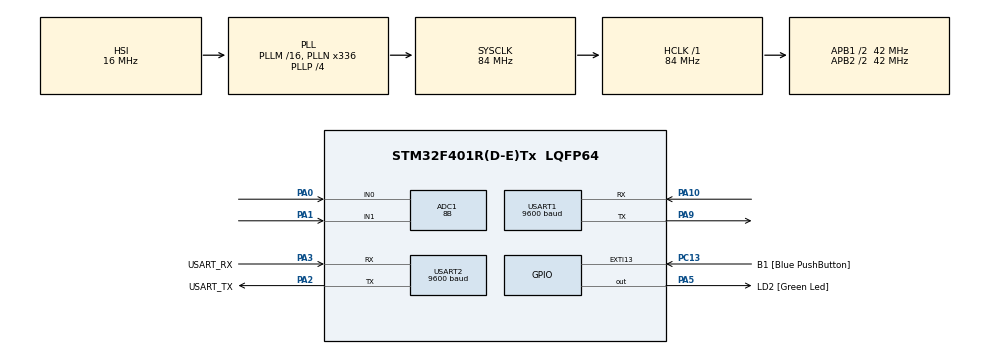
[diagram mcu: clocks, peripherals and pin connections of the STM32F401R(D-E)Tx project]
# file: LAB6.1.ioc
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ADC1.Channel-0\#ChannelRegularConversion=ADC_CHANNEL_0
ADC1.Channel-1\#ChannelRegularConversion=ADC_CHANNEL_1
ADC1.ContinuousConvMode=DISABLE
ADC1.NbrOfConversion=2
ADC1.NbrOfConversionFlag=1
ADC1.Rank-0\#ChannelRegularConversion=1
ADC1.Rank-1\#ChannelRegularConversion=2
ADC1.Resolution=ADC_RESOLUTION_8B
ADC1.SamplingTime-0\#ChannelRegularConversion=ADC_SAMPLETIME_84CYCLES
ADC1.SamplingTime-1\#ChannelRegularConversion=ADC_SAMPLETIME_84CYCLES
ADC1.ScanConvMode=ENABLE
ADC1.master=1
Mcu.Family=STM32F4
Mcu.Name=STM32F401R(D-E)Tx
Mcu.Package=LQFP64
NVIC.PriorityGroup=NVIC_PRIORITYGROUP_4
NVIC.USART1_IRQn=true\:0\:0\:false\:false\:true\:true\:true\:true
PA0-WKUP.Signal=ADCx_IN0
PA1.Signal=ADCx_IN1
PA10.Mode=Asynchronous
PA10.Signal=USART1_RX
PA13.GPIO_Label=TMS
PA13.Mode=Trace_Asynchronous_SW
PA13.Signal=SYS_JTMS-SWDIO
PA14.GPIO_Label=TCK
PA14.Mode=Trace_Asynchronous_SW
PA14.Signal=SYS_JTCK-SWCLK
PA2.GPIO_Label=USART_TX
PA2.GPIO_Mode=GPIO_MODE_AF_PP
PA2.GPIO_PuPd=GPIO_NOPULL
PA2.GPIO_Speed=GPIO_SPEED_FREQ_LOW
PA2.Mode=Asynchronous
PA2.Signal=USART2_TX
PA3.GPIO_Label=USART_RX
PA3.GPIO_Mode=GPIO_MODE_AF_PP
PA3.GPIO_PuPd=GPIO_NOPULL
PA3.GPIO_Speed=GPIO_SPEED_FREQ_LOW
PA3.Mode=Asynchronous
PA3.Signal=USART2_RX
PA5.GPIO_Label=LD2 [Green Led]
PA5.GPIO_Mode=GPIO_MODE_OUTPUT_PP
PA5.GPIO_PuPd=GPIO_NOPULL
PA5.GPIO_Speed=GPIO_SPEED_FREQ_LOW
PA5.Signal=GPIO_Output
PA9.Mode=Asynchronous
PA9.Signal=USART1_TX
PB3.GPIO_Label=SWO
PB3.Mode=Trace_Asynchronous_SW
PB3.Signal=SYS_JTDO-SWO
PC13-ANTI_TAMP.GPIO_Label=B1 [Blue PushButton]
PC13-ANTI_TAMP.GPIO_ModeDefaultEXTI=GPIO_MODE_IT_FALLING
PC13-ANTI_TAMP.GPIO_PuPd=GPIO_NOPULL
PC13-ANTI_TAMP.Signal=GPXTI13
PC14-OSC32_IN.Mode=LSE-External-Oscillator
PC14-OSC32_IN.Signal=RCC_OSC32_IN
PC15-OSC32_OUT.Mode=LSE-External-Oscillator
PC15-OSC32_OUT.Signal=RCC_OSC32_OUT
PH0\ -\ OSC_IN.Mode=HSE-External-Clock-Source
PH0\ -\ OSC_IN.Signal=RCC_OSC_IN
PH1\ -\ OSC_OUT.Mode=HSE-External-Clock-Source
PH1\ -\ OSC_OUT.Signal=RCC_OSC_OUT
ProjectManager.HeapSize=0x200
ProjectManager.StackSize=0x400
ProjectManager.TargetToolchain=STM32CubeIDE
RCC.48MHZClocksFreq_Value=48000000
RCC.AHBFreq_Value=84000000
RCC.APB1CLKDivider=RCC_HCLK_DIV2
RCC.APB1Freq_Value=42000000
RCC.APB1TimFreq_Value=84000000
RCC.APB2CLKDivider=RCC_HCLK_DIV2
RCC.APB2Freq_Value=42000000
RCC.APB2TimFreq_Value=84000000
RCC.CortexFreq_Value=84000000
RCC.HCLKFreq_Value=84000000
RCC.HSE_VALUE=8000000
RCC.HSI_VALUE=16000000
RCC.PLLN=336
RCC.PLLP=RCC_PLLP_DIV4
RCC.PLLQ=7
RCC.SYSCLKFreq_VALUE=84000000
RCC.SYSCLKSource=RCC_SYSCLKSOURCE_PLLCLK
RCC.VCOOutputFreq_Value=336000000
SH.ADCx_IN0.0=ADC1_IN0,IN0
SH.ADCx_IN1.0=ADC1_IN1,IN1
USART1.BaudRate=9600
USART1.VirtualMode=VM_ASYNC
USART2.BaudRate=9600
USART2.VirtualMode=VM_ASYNC
board=NUCLEO-F401RE

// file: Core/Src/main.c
/* USER CODE BEGIN Header */
/**
  ******************************************************************************
  * @file           : main.c
  * @brief          : Main program body
  ******************************************************************************
  * @attention
  *
  * Copyright (c) 2026 STMicroelectronics.
  * All rights reserved.
  *
  * This software is licensed under terms that can be found in the LICENSE file
  * in the root directory of this software component.
  * If no LICENSE file comes with this software, it is provided AS-IS.
  *
  ******************************************************************************
  */
/* USER CODE END Header */
#include "main.h"

/* USER CODE BEGIN Includes */
#include <stdio.h>
#include <string.h>
/* USER CODE END Includes */

/* USER CODE BEGIN PD */
#define ADC_midline 126
 uint8_t rxData;
volatile uint8_t i = 0;
volatile uint8_t dataReady = 0;
char buffer[50];
/* USER CODE END PD */

ADC_HandleTypeDef hadc1;

UART_HandleTypeDef huart1;
UART_HandleTypeDef huart2;

void SystemClock_Config(void);
static void MX_GPIO_Init(void);
static void MX_ADC1_Init(void);
static void MX_USART2_UART_Init(void);
static void MX_USART1_UART_Init(void);

int main(void)
{

  /* MCU Configuration--------------------------------------------------------*/

  /* Reset of all peripherals, Initializes the Flash interface and the Systick. */
  HAL_Init();

  /* Configure the system clock */
  SystemClock_Config();

  /* Initialize all configured peripherals */
  MX_GPIO_Init();
  MX_ADC1_Init();
  MX_USART2_UART_Init();
  MX_USART1_UART_Init();
  /* USER CODE BEGIN 2 */

  uint32_t adcX = 0;
  uint32_t adcY = 0;

  HAL_UART_Receive_IT(&huart1, &rxData, 1);
  HAL_ADC_Start(&hadc1);

 //uint8_t contador=0;
  /* USER CODE END 2 */

  /* Infinite loop */
  while (1)
  {

    /* USER CODE BEGIN 3 */
	  if(dataReady)
	  {
		  HAL_UART_Transmit(&huart2, (uint8_t*)buffer, strlen(buffer), 100);
		  dataReady = 0;
	  }

	  HAL_ADC_Start(&hadc1);
	  HAL_ADC_PollForConversion(&hadc1, HAL_MAX_DELAY);
	  adcY = HAL_ADC_GetValue(&hadc1);

	  HAL_ADC_PollForConversion(&hadc1, HAL_MAX_DELAY);
	  adcX = HAL_ADC_GetValue(&hadc1);

	  HAL_ADC_Stop(&hadc1);

	  if(adcX < (ADC_midline-2))
	  {
		  sprintf(buffer, "PJ1: izquierda\r\n");
	  }
	  else if(adcX>(ADC_midline+5))
	  {
		  sprintf(buffer, "PJ1: derecha\r\n");
	  }
	  else{
		  buffer[0] = '\0';  // vaciar string
	  }

	  HAL_UART_Transmit(&huart2, (uint8_t*)buffer, strlen(buffer), HAL_MAX_DELAY);

	  if(adcY<(ADC_midline-2)){
		  sprintf(buffer, "PJ1: abajo\r\n");
	  }
	  else if (adcY>(ADC_midline+2)){
		  sprintf(buffer, "PJ1: arriba\r\n");
	  }
	  else{
		  buffer[0] = '\0';  // vaciar string
	  }
	  HAL_UART_Transmit(&huart2, (uint8_t*)buffer, strlen(buffer), HAL_MAX_DELAY);

	  HAL_Delay(50);
  }
  /* USER CODE END 3 */
}

void SystemClock_Config(void)
{
  RCC_OscInitTypeDef RCC_OscInitStruct = {0};
  RCC_ClkInitTypeDef RCC_ClkInitStruct = {0};

  /** Configure the main internal regulator output voltage
  */
  __HAL_RCC_PWR_CLK_ENABLE();
  __HAL_PWR_VOLTAGESCALING_CONFIG(PWR_REGULATOR_VOLTAGE_SCALE2);

  /** Initializes the RCC Oscillators according to the specified parameters
  * in the RCC_OscInitTypeDef structure.
  */
  RCC_OscInitStruct.OscillatorType = RCC_OSCILLATORTYPE_HSI;
  RCC_OscInitStruct.HSIState = RCC_HSI_ON;
  RCC_OscInitStruct.HSICalibrationValue = RCC_HSICALIBRATION_DEFAULT;
  RCC_OscInitStruct.PLL.PLLState = RCC_PLL_ON;
  RCC_OscInitStruct.PLL.PLLSource = RCC_PLLSOURCE_HSI;
  RCC_OscInitStruct.PLL.PLLM = 16;
  RCC_OscInitStruct.PLL.PLLN = 336;
  RCC_OscInitStruct.PLL.PLLP = RCC_PLLP_DIV4;
  RCC_OscInitStruct.PLL.PLLQ = 7;
  if (HAL_RCC_OscConfig(&RCC_OscInitStruct) != HAL_OK)
  {
    Error_Handler();
  }

  /** Initializes the CPU, AHB and APB buses clocks
  */
  RCC_ClkInitStruct.ClockType = RCC_CLOCKTYPE_HCLK|RCC_CLOCKTYPE_SYSCLK
                              |RCC_CLOCKTYPE_PCLK1|RCC_CLOCKTYPE_PCLK2;
  RCC_ClkInitStruct.SYSCLKSource = RCC_SYSCLKSOURCE_PLLCLK;
  RCC_ClkInitStruct.AHBCLKDivider = RCC_SYSCLK_DIV1;
  RCC_ClkInitStruct.APB1CLKDivider = RCC_HCLK_DIV2;
  RCC_ClkInitStruct.APB2CLKDivider = RCC_HCLK_DIV2;

  if (HAL_RCC_ClockConfig(&RCC_ClkInitStruct, FLASH_LATENCY_2) != HAL_OK)
  {
    Error_Handler();
  }
}

static void MX_ADC1_Init(void)
{

  ADC_ChannelConfTypeDef sConfig = {0};

  /** Configure the global features of the ADC (Clock, Resolution, Data Alignment and number of conversion)
  */
  hadc1.Instance = ADC1;
  hadc1.Init.ClockPrescaler = ADC_CLOCK_SYNC_PCLK_DIV2;
  hadc1.Init.Resolution = ADC_RESOLUTION_8B;
  hadc1.Init.ScanConvMode = ENABLE;
  hadc1.Init.ContinuousConvMode = DISABLE;
  hadc1.Init.DiscontinuousConvMode = DISABLE;
  hadc1.Init.ExternalTrigConvEdge = ADC_EXTERNALTRIGCONVEDGE_NONE;
  hadc1.Init.ExternalTrigConv = ADC_SOFTWARE_START;
  hadc1.Init.DataAlign = ADC_DATAALIGN_RIGHT;
  hadc1.Init.NbrOfConversion = 2;
  hadc1.Init.DMAContinuousRequests = DISABLE;
  hadc1.Init.EOCSelection = ADC_EOC_SINGLE_CONV;
  if (HAL_ADC_Init(&hadc1) != HAL_OK)
  {
    Error_Handler();
  }

  /** Configure for the selected ADC regular channel its corresponding rank in the sequencer and its sample time.
  */
  sConfig.Channel = ADC_CHANNEL_0;
  sConfig.Rank = 1;
  sConfig.SamplingTime = ADC_SAMPLETIME_84CYCLES;
  if (HAL_ADC_ConfigChannel(&hadc1, &sConfig) != HAL_OK)
  {
    Error_Handler();
  }

  /** Configure for the selected ADC regular channel its corresponding rank in the sequencer and its sample time.
  */
  sConfig.Channel = ADC_CHANNEL_1;
  sConfig.Rank = 2;
  if (HAL_ADC_ConfigChannel(&hadc1, &sConfig) != HAL_OK)
  {
    Error_Handler();
  }

}

static void MX_USART1_UART_Init(void)
{

  huart1.Instance = USART1;
  huart1.Init.BaudRate = 9600;
  huart1.Init.WordLength = UART_WORDLENGTH_8B;
  huart1.Init.StopBits = UART_STOPBITS_1;
  huart1.Init.Parity = UART_PARITY_NONE;
  huart1.Init.Mode = UART_MODE_TX_RX;
  huart1.Init.HwFlowCtl = UART_HWCONTROL_NONE;
  huart1.Init.OverSampling = UART_OVERSAMPLING_16;
  if (HAL_UART_Init(&huart1) != HAL_OK)
  {
    Error_Handler();
  }

}

static void MX_USART2_UART_Init(void)
{

  huart2.Instance = USART2;
  huart2.Init.BaudRate = 9600;
  huart2.Init.WordLength = UART_WORDLENGTH_8B;
  huart2.Init.StopBits = UART_STOPBITS_1;
  huart2.Init.Parity = UART_PARITY_NONE;
  huart2.Init.Mode = UART_MODE_TX_RX;
  huart2.Init.HwFlowCtl = UART_HWCONTROL_NONE;
  huart2.Init.OverSampling = UART_OVERSAMPLING_16;
  if (HAL_UART_Init(&huart2) != HAL_OK)
  {
    Error_Handler();
  }

}

static void MX_GPIO_Init(void)
{
  GPIO_InitTypeDef GPIO_InitStruct = {0};

  /* GPIO Ports Clock Enable */
  __HAL_RCC_GPIOC_CLK_ENABLE();
  __HAL_RCC_GPIOH_CLK_ENABLE();
  __HAL_RCC_GPIOA_CLK_ENABLE();
  __HAL_RCC_GPIOB_CLK_ENABLE();

  /*Configure GPIO pin Output Level */
  HAL_GPIO_WritePin(LD2_GPIO_Port, LD2_Pin, GPIO_PIN_RESET);

  /*Configure GPIO pin : B1_Pin */
  GPIO_InitStruct.Pin = B1_Pin;
  GPIO_InitStruct.Mode = GPIO_MODE_IT_FALLING;
  GPIO_InitStruct.Pull = GPIO_NOPULL;
  HAL_GPIO_Init(B1_GPIO_Port, &GPIO_InitStruct);

  /*Configure GPIO pin : LD2_Pin */
  GPIO_InitStruct.Pin = LD2_Pin;
  GPIO_InitStruct.Mode = GPIO_MODE_OUTPUT_PP;
  GPIO_InitStruct.Pull = GPIO_NOPULL;
  GPIO_InitStruct.Speed = GPIO_SPEED_FREQ_LOW;
  HAL_GPIO_Init(LD2_GPIO_Port, &GPIO_InitStruct);

}

/* USER CODE BEGIN 4 */
void HAL_UART_RxCpltCallback(UART_HandleTypeDef *huart)
{
    if (huart->Instance == USART1)
    {
        buffer[i++] = rxData;

        // detectar fin de mensaje
        if(rxData == '\n' || i >= 49)
        {
            buffer[i] = '\0';  // terminar string
            dataReady = 1;
            i = 0;
        }

        HAL_UART_Receive_IT(&huart1, &rxData, 1);
    }
}
/* USER CODE END 4 */

void Error_Handler(void)
{
  __disable_irq();
  while (1)
  {
  }
}
